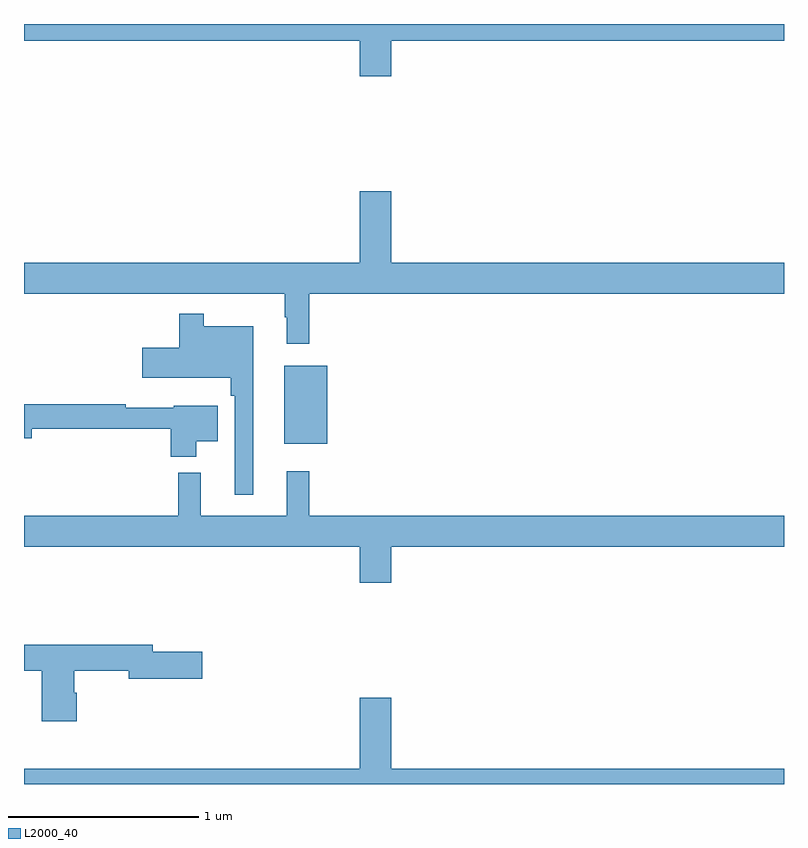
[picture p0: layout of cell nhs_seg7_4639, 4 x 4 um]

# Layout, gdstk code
import gdstk
lib = gdstk.Library(unit=1e-6, precision=1e-09)
def R(c, l, rs):  # rectangles x0, y0, x1, y1
    for r in rs: c.add(gdstk.rectangle(r[:2], r[2:], *l))
def P(c, l, *ps):  # polygons
    for p in ps: c.add(gdstk.Polygon(p, *l))
L2000_40 = (2000, 40)

nhs_seg7_4639 = lib.new_cell('nhs_seg7_4639')
R(nhs_seg7_4639, L2000_40, [(404.369,1035.791,404.596,1036.201)])
P(nhs_seg7_4639, L2000_40, [(404.932,1037.912),(407,1037.912),(407,1038),(403,1038),(403,1037.912),(404.768,1037.912),(404.768,1037.724),(404.932,1037.724)],
  [(404.501,1036.58),(407,1036.58),(407,1036.744),(404.932,1036.744),(404.932,1037.119),(404.768,1037.119),(404.768,1036.744),(403,1036.744),(403,1036.58),(404.373,1036.58),(404.373,1036.457),(404.384,1036.457),(404.384,1036.317),(404.501,1036.317)],
  [(404.206,1036.408),(403.945,1036.408),(403.945,1036.474),(403.816,1036.474),(403.816,1036.297),(403.623,1036.297),(403.623,1036.139),(404.089,1036.139),(404.089,1036.043),(404.109,1036.043),(404.109,1035.522),(404.206,1035.522)],
  [(403.906,1035.803),(404.02,1035.803),(404.02,1035.991),(403.788,1035.991),(403.788,1035.979),(403.535,1035.979),(403.535,1035.998),(403,1035.998),(403,1035.82),(403.042,1035.82),(403.042,1035.87),(403.772,1035.87),(403.772,1035.722),(403.906,1035.722)],
  [(404.932,1035.248),(407,1035.248),(407,1035.412),(404.501,1035.412),(404.501,1035.646),(404.384,1035.646),(404.384,1035.412),(403.931,1035.412),(403.931,1035.637),(403.813,1035.637),(403.813,1035.412),(403,1035.412),(403,1035.248),(404.768,1035.248),(404.768,1035.06),(404.932,1035.06)],
  [(403.277,1034.481),(403.264,1034.481),(403.264,1034.596),(403.55,1034.596),(403.55,1034.554),(403.939,1034.554),(403.939,1034.696),(403.678,1034.696),(403.678,1034.732),(403,1034.732),(403,1034.596),(403.094,1034.596),(403.094,1034.331),(403.277,1034.331)],
  [(407,1034.08),(404.932,1034.08),(404.932,1034.455),(404.768,1034.455),(404.768,1034.08),(403,1034.08),(403,1034),(407,1034)])

lib.write_gds('nhs_seg7_4639.gds')
